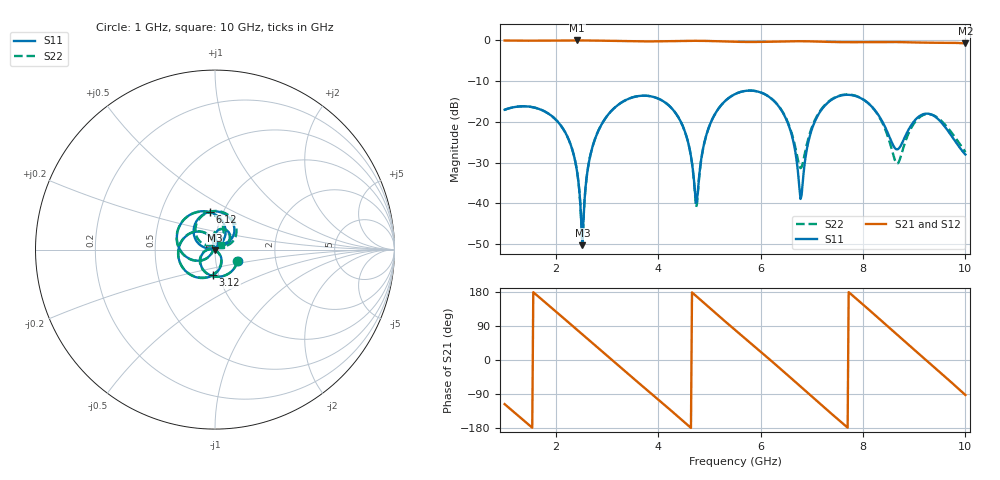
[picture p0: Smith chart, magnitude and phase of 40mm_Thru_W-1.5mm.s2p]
! Touchstone file exported from HFSS 2018.2.0
!  File:  C:/Users/10024/OneDrive - The University of Nottingham Ningbo China/Year 4/Final Year Project/HFSS project/Passive_Resonator_Antenna.aedt
!  Generated:  4:18:45 下午  3月 11, 2022
!  Design:  SMA_Thru
!  Project:  Passive_Resonator_Antenna
!  Setup:  Setup1
!  Solution:  Sweep
! Variables:
!  MW = 1.5mm
!  ThruL = 40mm
!  g = 0.2mm
!  subH = 0.8mm
!  subX = 20mm
!  subY = 50mm
!  tapW = 1.992mm
# GHZ S MA R 50.000000
! Modal data exported
! Port[1] = SMA_CONNECTOR1_1:1
! Port[2] = SMA_CONNECTOR2_1:1
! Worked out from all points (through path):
!   451 points, 1 GHz to 10 GHz, reference 50 ohm
!   highest |S21| = -0.10 dB at 2.42 GHz (marker M1); lowest = -0.8 dB at 10 GHz (marker M2)
!   group delay of S21, straight-line fit = 326 ps
!   lowest |S11| = -50.3 dB at 2.52 GHz (marker M3), VSWR 1.01, Z = 49.9 - j0.297 ohm
!   |S11| at or under -10 dB: start of sweep to end of sweep
!   |S22| runs from -50.5 to -12.4 dB; largest |S21 - S12| = 2.4e-12
!   S11 on the Smith chart (normalised r, x): 1 GHz: 1.28, -0.16; 3.12 GHz: 0.94, -0.27; 6.12 GHz: 0.87, +0.38; 10 GHz: 1.06, +0.06
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1  0.1401 -26.2  0.9864 -116.4  0.9864 -116.4  0.1401 -27.5
! Gamma ! 0.0151858380091087 30.3716836112168 0.0151858380091136 30.3716836111679
! Port Impedance50 0 50 0
1.66  0.1442 -101.9  0.9821 167.4  0.9821 167.4  0.1443 -104.0
2.42  0.02347 176.1  0.9883 79.0  0.9883 79.0  0.02344 173.7
2.5  0.005271 -165.8  0.9881 69.6  0.9881 69.6  0.005197 -168.4
2.52  0.003059 -103.4  0.988 67.3  0.988 67.3  0.002994 -104.5
2.72  0.05012 -49.9  0.9857 43.8  0.9857 43.8  0.05021 -51.9
3.12  0.1426 -94.2  0.9751 -3.0  0.9751 -3.0  0.1428 -96.0
3.6  0.2054 -148.8  0.9626 -58.4  0.9626 -58.4  0.2056 -150.2
4  0.1919 166.2  0.964 -104.3  0.964 -104.3  0.1921 165.0
4.5  0.08235 112.5  0.9765 -162.7  0.9765 -162.7  0.08234 111.2
4.74  0.01015 156.0  0.9784 168.9  0.9784 168.9  0.00897 153.8
5  0.08894 -139.6  0.9733 138.0  0.9733 138.0  0.08881 -138.8
5.5  0.2177 166.6  0.9526 79.5  0.9526 79.5  0.2178 167.6
6.12  0.2103 97.6  0.9518 8.1  0.9518 8.1  0.2109 100.3
6.54  0.09337 53.0  0.9654 -41.3  0.9654 -41.3  0.09576 61.4
6.78  0.01133 96.9  0.9672 -70.1  0.9672 -70.1  0.02702 104.3
7  0.08048 164.5  0.9624 -96.4  0.9624 -96.4  0.08498 153.1
7.74  0.2131 87.2  0.9405 176.8  0.9405 176.8  0.2149 82.3
8.5  0.06904 32.1  0.9476 86.8  0.9476 86.8  0.0619 19.2
8.68  0.04601 66.0  0.9445 65.3  0.9445 65.3  0.03089 65.5
9.24  0.1257 60.7  0.9283 -1.1  0.9283 -1.1  0.1238 65.7
10  0.03964 41.5  0.9101 -92.4  0.9101 -92.4  0.0425 33.4
